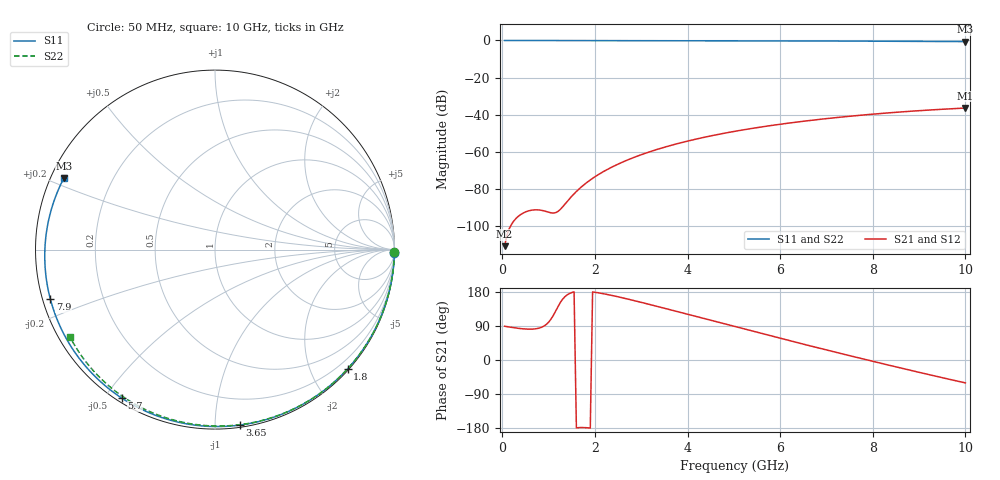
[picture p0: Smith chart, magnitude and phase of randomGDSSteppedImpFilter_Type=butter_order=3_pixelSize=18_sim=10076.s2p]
! freq	dB(S11)	phase(S11)	dB(S12)	phase(S12)
!  dB(S21)	phase(S21)	dB(S22)	phase(S22)
!S-par simulation data
#  GHz  S  DB  R 50
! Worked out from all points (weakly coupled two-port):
!   200 points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, 50 MHz to 10 GHz, reference 50 ohm
!   highest |S21| = -36.40 dB at 10 GHz (marker M1); lowest = -110.8 dB at 50 MHz (marker M2)
!   lowest |S11| = -0.6 dB at 10 GHz (marker M3), VSWR 28.17, Z = 1.86 + j11.2 ohm
!   |S11| at or under -10 dB: nowhere
!   |S22| runs from -0.5 to 0.0 dB; largest |S21 - S12| = 0
!   S11 on the Smith chart (normalised r, x): 50 MHz: 0, -95; 1.8 GHz: 0.02, -2.61; 3.65 GHz: 0.01, -1.15; 5.7 GHz: 0.02, -0.55; 7.9 GHz: 0.02, -0.15; 10 GHz: 0.04, +0.22
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0.05  -0.00 -1.2  -110.78 89.2  -110.78 89.2  -0.00 -0.9
0.4  -0.01 -9.5  -93.70 82.9  -93.70 82.9  -0.01 -6.9
0.8  -0.02 -18.9  -91.29 84.3  -91.29 84.3  -0.02 -13.7
1.2  -0.04 -28.2  -92.11 140.3  -92.11 140.3  -0.03 -20.5
1.65  -0.05 -38.5  -80.14 -178.5  -80.14 -178.5  -0.04 -28.1
1.75  -0.05 -40.8  -77.97 -178.3  -77.97 -178.3  -0.04 -29.7
1.8  -0.05 -41.9  -76.97 -178.5  -76.97 -178.5  -0.04 -30.6
2.1  -0.06 -48.7  -71.84 176.8  -71.84 176.8  -0.05 -35.5
2.5  -0.07 -57.5  -66.59 166.8  -66.59 166.8  -0.05 -42.1
2.9  -0.09 -66.2  -62.43 155.2  -62.43 155.2  -0.06 -48.5
3.4  -0.10 -76.7  -58.24 139.7  -58.24 139.7  -0.08 -56.5
3.65  -0.11 -81.9  -56.45 131.8  -56.45 131.8  -0.08 -60.4
4.35  -0.14 -96.1  -52.20 109.5  -52.20 109.5  -0.10 -71.1
5.05  -0.17 -109.8  -48.80 87.2  -48.80 87.2  -0.13 -81.5
5.7  -0.20 -122.2  -46.18 66.7  -46.18 66.7  -0.15 -90.9
6.7  -0.27 -140.9  -42.92 35.7  -42.92 35.7  -0.20 -104.8
7.3  -0.32 -152.0  -41.31 17.5  -41.31 17.5  -0.24 -113.0
7.9  -0.37 -163.3  -39.90 -0.5  -39.90 -0.5  -0.29 -121.0
8.35  -0.42 -171.9  -38.97 -13.7  -38.97 -13.7  -0.33 -127.0
8.8  -0.47 179.3  -38.15 -26.8  -38.15 -26.8  -0.37 -132.9
9.2  -0.52 171.3  -37.49 -38.2  -37.49 -38.2  -0.41 -138.2
10  -0.62 154.6  -36.40 -60.4  -36.40 -60.4  -0.51 -148.8
